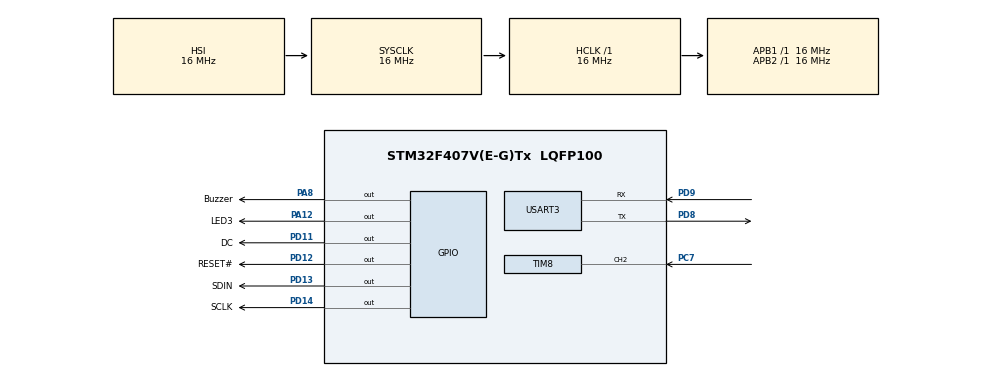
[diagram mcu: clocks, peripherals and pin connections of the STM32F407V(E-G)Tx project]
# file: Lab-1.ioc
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Mcu.Family=STM32F4
Mcu.Name=STM32F407V(E-G)Tx
Mcu.Package=LQFP100
NVIC.PriorityGroup=NVIC_PRIORITYGROUP_4
NVIC.TIM8_CC_IRQn=true\:0\:0\:false\:false\:true\:true\:true\:true
PA12.GPIO_Label=LED3
PA12.Signal=GPIO_Output
PA13.Signal=SYS_JTMS-SWDIO
PA14.Signal=SYS_JTCK-SWCLK
PA8.GPIO_Label=Buzzer
PA8.Signal=GPIO_Output
PC7.Signal=S_TIM8_CH2
PD11.GPIO_Label=DC
PD11.Signal=GPIO_Output
PD12.GPIO_Label=RESET\#
PD12.Signal=GPIO_Output
PD13.GPIO_Label=SDIN
PD13.Signal=GPIO_Output
PD14.GPIO_Label=SCLK
PD14.Signal=GPIO_Output
PD8.Mode=Asynchronous
PD8.Signal=USART3_TX
PD9.Mode=Asynchronous
PD9.Signal=USART3_RX
ProjectManager.HeapSize=0x200
ProjectManager.StackSize=0x400
ProjectManager.TargetToolchain=STM32CubeIDE
RCC.AHBFreq_Value=16000000
RCC.APB1Freq_Value=16000000
RCC.APB2Freq_Value=16000000
RCC.CortexFreq_Value=16000000
RCC.HSE_VALUE=25000000
RCC.HSI_VALUE=16000000
RCC.LSE_VALUE=32768
RCC.SYSCLKFreq_VALUE=16000000
RCC.VCOOutputFreq_Value=192000000
SH.S_TIM8_CH2.0=TIM8_CH2,Input_Capture2_from_TI2
TIM6.Prescaler=16-1
TIM8.Channel-Input_Capture2_from_TI2=TIM_CHANNEL_2
TIM8.ICPolarity_CH2=TIM_INPUTCHANNELPOLARITY_BOTHEDGE
TIM8.Prescaler=16-1
USART3.VirtualMode=VM_ASYNC
VP_TIM6_VS_ClockSourceINT.Mode=Enable_Timer
VP_TIM8_VS_ClockSourceINT.Mode=Internal
board=custom

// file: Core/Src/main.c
/* USER CODE BEGIN Header */
/**
  ******************************************************************************
  * @file           : main.c
  * @brief          : Main program body
  ******************************************************************************
  * @attention
  *
  * Copyright (c) 2025 STMicroelectronics.
  * All rights reserved.
  *
  * This software is licensed under terms that can be found in the LICENSE file
  * in the root directory of this software component.
  * If no LICENSE file comes with this software, it is provided AS-IS.
  *
  ******************************************************************************
  */
/* USER CODE END Header */
#include "main.h"

/* USER CODE BEGIN Includes */
#include "oled.h"
/* USER CODE END Includes */

/* USER CODE BEGIN PD */
//void delay_us (uint16_t us);
//void HAl_TIM_IC_CaptureCallback(TIM_HandleTypeDef *htim);
/* USER CODE END PD */

 TIM_HandleTypeDef htim6;
TIM_HandleTypeDef htim8;

UART_HandleTypeDef huart3;

void SystemClock_Config(void);
static void MX_GPIO_Init(void);
static void MX_USART3_UART_Init(void);
static void MX_TIM6_Init(void);
static void MX_TIM8_Init(void);

/* USER CODE BEGIN 0 */
// These are for US Echo Signal
//int posedge = false;
//int tc1, tc2;
//int echo =0;
//
//
//
//void HAl_TIM_IC_CaptureCallback(TIM_HandleTypeDef *htim){
//	if(htim==&htim8){
//		if (!posedge){
//			tc=HAL_TIM_ReadCapturedValue(htim, TIM_CHANNEL_2);
//			posedge = true;
//		}else{
//			tc2=HAL_TIM_ReadCapturedValue(htim, TIM_CHANNEL_2);
//			if(tc2>tc1) echo = (tc2-tc1);
//			else echo = ((65536-tc1)+tc2); posedge = false;
//		}
//	}
//}
void delay_us (uint16_t us){
	__HAL_TIM_SET_COUNTER(&htim6,0);
	while(__HAL_TIM_GET_COUNTER(&htim6)< us);
}

/* USER CODE END 0 */

int main(void)
{
  /* USER CODE BEGIN 1 */
	uint8_t sbuf[15] = "Hello world!\n\r";
	uint8_t *OLED_buf;
  /* USER CODE END 1 */

  /* MCU Configuration--------------------------------------------------------*/

  /* Reset of all peripherals, Initializes the Flash interface and the Systick. */
  HAL_Init();

  /* Configure the system clock */
  SystemClock_Config();

  /* Initialize all configured peripherals */
  MX_GPIO_Init();
  MX_USART3_UART_Init();
  MX_TIM6_Init();
  MX_TIM8_Init();
  /* USER CODE BEGIN 2 */
  OLED_Init();
  OLED_ShowString(10, 5, "SC2104/CE3002");

  OLED_buf = "Lab 1";
  OLED_ShowString (40, 30, OLED_buf);
  OLED_Refresh_Gram;

  HAL_TIM_Base_Start (&htim6);
  HAL_TIM_IC_Start_IT(&htim8, TIM_CHANNEL_2);
  // HAL_UART_Transmit(&huart3, sbuf, sizeof(sbuf), HAL_MAX_DELAY);
  /* USER CODE END 2 */

  /* Infinite loop */
  /* USER CODE BEGIN WHILE */
  while (1)
  {

	  HAL_GPIO_WritePin(GPIOA, GPIO_PIN_12, GPIO_PIN_SET);
	  // HAL_GPIO_WritePin(GPIOA, GPIO_PIN_8, GPIO_PIN_SET);
	  HAL_UART_Transmit(&huart3, sbuf, sizeof(sbuf), HAL_MAX_DELAY);
	  HAL_Delay(1000);
	  HAL_GPIO_WritePin(GPIOA, GPIO_PIN_12, GPIO_PIN_RESET);
	  // HAL_GPIO_WritePin(GPIOA, GPIO_PIN_8, GPIO_PIN_RESET);
	  HAL_Delay(1000);
    /* USER CODE END WHILE */

  }
}

void SystemClock_Config(void)
{
  RCC_OscInitTypeDef RCC_OscInitStruct = {0};
  RCC_ClkInitTypeDef RCC_ClkInitStruct = {0};

  /** Configure the main internal regulator output voltage
  */
  __HAL_RCC_PWR_CLK_ENABLE();
  __HAL_PWR_VOLTAGESCALING_CONFIG(PWR_REGULATOR_VOLTAGE_SCALE1);

  /** Initializes the RCC Oscillators according to the specified parameters
  * in the RCC_OscInitTypeDef structure.
  */
  RCC_OscInitStruct.OscillatorType = RCC_OSCILLATORTYPE_HSI;
  RCC_OscInitStruct.HSIState = RCC_HSI_ON;
  RCC_OscInitStruct.HSICalibrationValue = RCC_HSICALIBRATION_DEFAULT;
  RCC_OscInitStruct.PLL.PLLState = RCC_PLL_NONE;
  if (HAL_RCC_OscConfig(&RCC_OscInitStruct) != HAL_OK)
  {
    Error_Handler();
  }

  /** Initializes the CPU, AHB and APB buses clocks
  */
  RCC_ClkInitStruct.ClockType = RCC_CLOCKTYPE_HCLK|RCC_CLOCKTYPE_SYSCLK
                              |RCC_CLOCKTYPE_PCLK1|RCC_CLOCKTYPE_PCLK2;
  RCC_ClkInitStruct.SYSCLKSource = RCC_SYSCLKSOURCE_HSI;
  RCC_ClkInitStruct.AHBCLKDivider = RCC_SYSCLK_DIV1;
  RCC_ClkInitStruct.APB1CLKDivider = RCC_HCLK_DIV1;
  RCC_ClkInitStruct.APB2CLKDivider = RCC_HCLK_DIV1;

  if (HAL_RCC_ClockConfig(&RCC_ClkInitStruct, FLASH_LATENCY_0) != HAL_OK)
  {
    Error_Handler();
  }
}

static void MX_TIM6_Init(void)
{

  TIM_MasterConfigTypeDef sMasterConfig = {0};

  htim6.Instance = TIM6;
  htim6.Init.Prescaler = 16-1;
  htim6.Init.CounterMode = TIM_COUNTERMODE_UP;
  htim6.Init.Period = 65535;
  htim6.Init.AutoReloadPreload = TIM_AUTORELOAD_PRELOAD_DISABLE;
  if (HAL_TIM_Base_Init(&htim6) != HAL_OK)
  {
    Error_Handler();
  }
  sMasterConfig.MasterOutputTrigger = TIM_TRGO_RESET;
  sMasterConfig.MasterSlaveMode = TIM_MASTERSLAVEMODE_DISABLE;
  if (HAL_TIMEx_MasterConfigSynchronization(&htim6, &sMasterConfig) != HAL_OK)
  {
    Error_Handler();
  }

}

static void MX_TIM8_Init(void)
{

  TIM_ClockConfigTypeDef sClockSourceConfig = {0};
  TIM_MasterConfigTypeDef sMasterConfig = {0};
  TIM_IC_InitTypeDef sConfigIC = {0};

  htim8.Instance = TIM8;
  htim8.Init.Prescaler = 16-1;
  htim8.Init.CounterMode = TIM_COUNTERMODE_UP;
  htim8.Init.Period = 65535;
  htim8.Init.ClockDivision = TIM_CLOCKDIVISION_DIV1;
  htim8.Init.RepetitionCounter = 0;
  htim8.Init.AutoReloadPreload = TIM_AUTORELOAD_PRELOAD_DISABLE;
  if (HAL_TIM_Base_Init(&htim8) != HAL_OK)
  {
    Error_Handler();
  }
  sClockSourceConfig.ClockSource = TIM_CLOCKSOURCE_INTERNAL;
  if (HAL_TIM_ConfigClockSource(&htim8, &sClockSourceConfig) != HAL_OK)
  {
    Error_Handler();
  }
  if (HAL_TIM_IC_Init(&htim8) != HAL_OK)
  {
    Error_Handler();
  }
  sMasterConfig.MasterOutputTrigger = TIM_TRGO_RESET;
  sMasterConfig.MasterSlaveMode = TIM_MASTERSLAVEMODE_DISABLE;
  if (HAL_TIMEx_MasterConfigSynchronization(&htim8, &sMasterConfig) != HAL_OK)
  {
    Error_Handler();
  }
  sConfigIC.ICPolarity = TIM_INPUTCHANNELPOLARITY_BOTHEDGE;
  sConfigIC.ICSelection = TIM_ICSELECTION_DIRECTTI;
  sConfigIC.ICPrescaler = TIM_ICPSC_DIV1;
  sConfigIC.ICFilter = 0;
  if (HAL_TIM_IC_ConfigChannel(&htim8, &sConfigIC, TIM_CHANNEL_2) != HAL_OK)
  {
    Error_Handler();
  }

}

static void MX_USART3_UART_Init(void)
{

  huart3.Instance = USART3;
  huart3.Init.BaudRate = 115200;
  huart3.Init.WordLength = UART_WORDLENGTH_8B;
  huart3.Init.StopBits = UART_STOPBITS_1;
  huart3.Init.Parity = UART_PARITY_NONE;
  huart3.Init.Mode = UART_MODE_TX_RX;
  huart3.Init.HwFlowCtl = UART_HWCONTROL_NONE;
  huart3.Init.OverSampling = UART_OVERSAMPLING_16;
  if (HAL_UART_Init(&huart3) != HAL_OK)
  {
    Error_Handler();
  }

}

static void MX_GPIO_Init(void)
{
  GPIO_InitTypeDef GPIO_InitStruct = {0};

  /* GPIO Ports Clock Enable */
  __HAL_RCC_GPIOD_CLK_ENABLE();
  __HAL_RCC_GPIOC_CLK_ENABLE();
  __HAL_RCC_GPIOA_CLK_ENABLE();

  /*Configure GPIO pin Output Level */
  HAL_GPIO_WritePin(GPIOD, DC_Pin|RESET__Pin|SDIN_Pin|SCLK_Pin, GPIO_PIN_RESET);

  /*Configure GPIO pin Output Level */
  HAL_GPIO_WritePin(GPIOA, Buzzer_Pin|LED3_Pin, GPIO_PIN_RESET);

  /*Configure GPIO pins : DC_Pin RESET__Pin SDIN_Pin SCLK_Pin */
  GPIO_InitStruct.Pin = DC_Pin|RESET__Pin|SDIN_Pin|SCLK_Pin;
  GPIO_InitStruct.Mode = GPIO_MODE_OUTPUT_PP;
  GPIO_InitStruct.Pull = GPIO_NOPULL;
  GPIO_InitStruct.Speed = GPIO_SPEED_FREQ_LOW;
  HAL_GPIO_Init(GPIOD, &GPIO_InitStruct);

  /*Configure GPIO pins : Buzzer_Pin LED3_Pin */
  GPIO_InitStruct.Pin = Buzzer_Pin|LED3_Pin;
  GPIO_InitStruct.Mode = GPIO_MODE_OUTPUT_PP;
  GPIO_InitStruct.Pull = GPIO_NOPULL;
  GPIO_InitStruct.Speed = GPIO_SPEED_FREQ_LOW;
  HAL_GPIO_Init(GPIOA, &GPIO_InitStruct);

}

void Error_Handler(void)
{
  __disable_irq();
  while (1)
  {
  }
}
